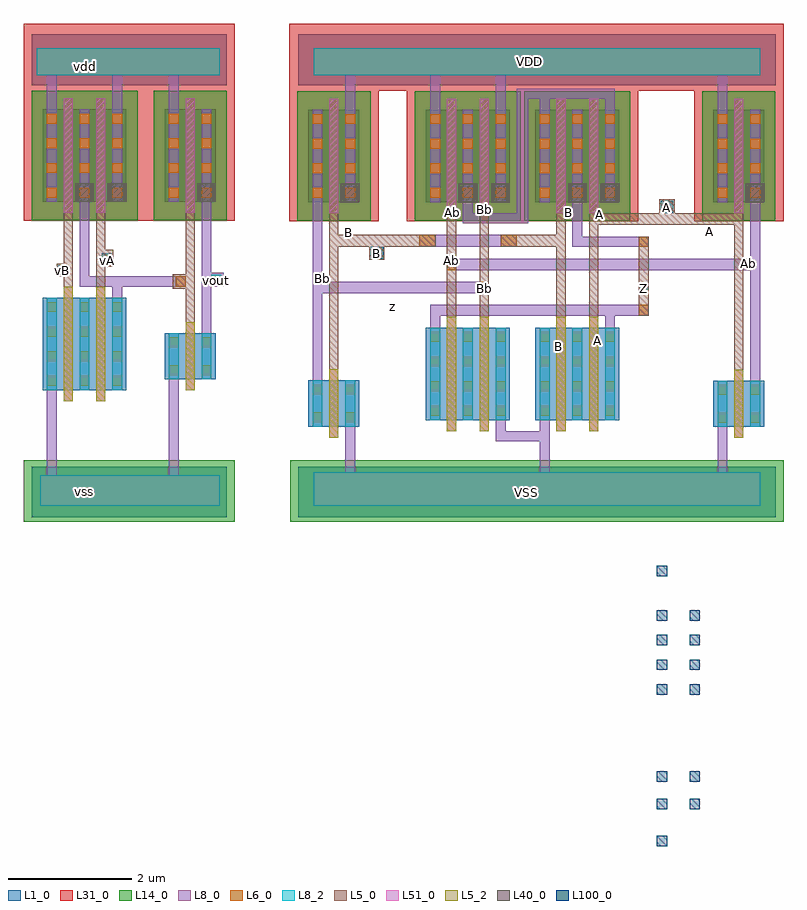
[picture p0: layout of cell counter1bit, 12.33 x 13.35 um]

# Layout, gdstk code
from math import pi, radians
import gdstk
lib = gdstk.Library(unit=1e-6, precision=5e-09)
def R(c, l, rs):  # rectangles x0, y0, x1, y1
    for r in rs: c.add(gdstk.rectangle(r[:2], r[2:], *l))
def A(c, l, x, y, w, h, nx, ny, dx, dy):  # array of equal rectangles
    R(c, l, [(x+i*dx, y+j*dy, x+i*dx+w, y+j*dy+h) for i in range(nx) for j in range(ny)])
def P(c, l, *ps):  # polygons
    for p in ps: c.add(gdstk.Polygon(p, *l))
L1_0 = (1, 0)
L5_0 = (5, 0)
L5_2 = (5, 2)
L6_0 = (6, 0)
L8_0 = (8, 0)
L8_2 = (8, 2)
L14_0 = (14, 0)
L31_0 = (31, 0)
L40_0 = (40, 0)
L51_0 = (51, 0)
L100_0 = (100, 0)

nmos_1 = lib.new_cell('nmos$1')
R(nmos_1, L1_0, [(0,0,0.3,0.3), (0,0,0.83,0.75), (0.53,0,0.83,0.3)])
R(nmos_1, L5_0, [(0.34,-0.18,0.49,0.93)])
R(nmos_1, L5_2, [(0.34,-0.18,0.49,0.93)])
R(nmos_1, L6_0, [(0.07,0.07,0.23,0.23), (0.6,0.07,0.76,0.23), (0.07,0.52,0.23,0.68), (0.6,0.52,0.76,0.68)])
R(nmos_1, L8_0, [(0.07,0,0.23,0.75), (0.6,0,0.76,0.75)])
R(nmos_1, L8_2, [(0.07,0,0.23,0.75), (0.6,0,0.76,0.75)])
R(nmos_1, L51_0, [(0.34,-0.18,0.49,0.93)])
nmos_1.add(gdstk.Label('nmos', (0.415,0.375), layer=63, texttype=0))
nmos_1.add(gdstk.Label('nmos', (0.415,0.375), layer=51, texttype=0))

pmos_1 = lib.new_cell('pmos$1')
R(pmos_1, L1_0, [(0,0,0.3,0.3), (0,0,0.83,1.5), (0.53,0,0.83,0.3)])
R(pmos_1, L5_0, [(0.34,-0.18,0.49,1.68), (0.34,-0.18,0.49,1.68)])
A(pmos_1, L6_0, 0.07, 0.07, 0.16, 0.16, 1, 4, 0, 0.4)
A(pmos_1, L6_0, 0.6, 0.07, 0.16, 0.16, 1, 4, 0, 0.4)
R(pmos_1, L8_0, [(0.07,0,0.23,1.5), (0.07,0,0.23,1.5), (0.6,0,0.76,1.5), (0.6,0,0.76,1.5)])
R(pmos_1, L14_0, [(-0.18,-0.3,1.01,1.8)])
R(pmos_1, L31_0, [(-0.31,-0.31,1.14,1.81)])
R(pmos_1, L40_0, [(0.53,0,0.83,0.3)])
R(pmos_1, L51_0, [(0.34,-0.18,0.49,1.68)])
pmos_1.add(gdstk.Label('pmos', (0.415,0.75), layer=63, texttype=0))
pmos_1.add(gdstk.Label('pmos', (0.415,0.75), layer=51, texttype=0))

nmos = lib.new_cell('nmos')
R(nmos, L1_0, [(0,0,0.3,0.3), (0,0,0.83,1.5), (0.53,0,0.83,0.3)])
R(nmos, L5_0, [(0.34,-0.18,0.49,1.68)])
R(nmos, L5_2, [(0.34,-0.18,0.49,1.68)])
A(nmos, L6_0, 0.07, 0.07, 0.16, 0.16, 1, 4, 0, 0.4)
A(nmos, L6_0, 0.6, 0.07, 0.16, 0.16, 1, 4, 0, 0.4)
R(nmos, L8_0, [(0.07,0,0.23,1.5), (0.6,0,0.76,1.5)])
R(nmos, L8_2, [(0.07,0,0.23,1.5), (0.6,0,0.76,1.5)])
R(nmos, L51_0, [(0.34,-0.18,0.49,1.68)])
nmos.add(gdstk.Label('nmos', (0.415,0.75), layer=63, texttype=0))
nmos.add(gdstk.Label('nmos', (0.415,0.75), layer=51, texttype=0))

pmos = lib.new_cell('pmos')
R(pmos, L1_0, [(0,0,0.3,0.3), (0,0,0.83,1.5), (0.53,0,0.83,0.3)])
R(pmos, L5_0, [(0.34,-0.18,0.49,1.68), (0.34,-0.18,0.49,1.68)])
A(pmos, L6_0, 0.07, 0.07, 0.16, 0.16, 1, 4, 0, 0.4)
A(pmos, L6_0, 0.6, 0.07, 0.16, 0.16, 1, 4, 0, 0.4)
R(pmos, L8_0, [(0.07,0,0.23,1.5), (0.07,0,0.23,1.5), (0.6,0,0.76,1.5), (0.6,0,0.76,1.5)])
R(pmos, L14_0, [(-0.18,-0.3,1.01,1.8)])
R(pmos, L31_0, [(-0.31,-0.31,1.14,1.81)])
R(pmos, L40_0, [(0.53,0,0.83,0.3)])
R(pmos, L51_0, [(0.34,-0.18,0.49,1.68)])
pmos.add(gdstk.Label('pmos', (0.415,0.75), layer=63, texttype=0))
pmos.add(gdstk.Label('pmos', (0.415,0.75), layer=51, texttype=0))

pmos_1_1 = lib.new_cell('pmos$1$1')
R(pmos_1_1, L1_0, [(0,0,0.3,0.3), (0,0,0.83,1.5), (0.53,0,0.83,0.3)])
R(pmos_1_1, L5_0, [(0.34,-0.18,0.49,1.68), (0.34,-0.18,0.49,1.68)])
A(pmos_1_1, L6_0, 0.07, 0.07, 0.16, 0.16, 1, 4, 0, 0.4)
A(pmos_1_1, L6_0, 0.6, 0.07, 0.16, 0.16, 1, 4, 0, 0.4)
R(pmos_1_1, L8_0, [(0.07,0,0.23,1.5), (0.07,0,0.23,1.5), (0.6,0,0.76,1.5), (0.6,0,0.76,1.5)])
R(pmos_1_1, L14_0, [(-0.18,-0.3,1.01,1.8)])
R(pmos_1_1, L31_0, [(-0.31,-0.31,1.14,1.81)])
R(pmos_1_1, L40_0, [(0.53,0,0.83,0.3)])
R(pmos_1_1, L51_0, [(0.34,-0.18,0.49,1.68)])
pmos_1_1.add(gdstk.Label('pmos', (0.415,0.75), layer=63, texttype=0))
pmos_1_1.add(gdstk.Label('pmos', (0.415,0.75), layer=51, texttype=0))

nmos_2 = lib.new_cell('nmos$2')
R(nmos_2, L1_0, [(0,0,0.3,0.3), (0,0,0.83,0.75), (0.53,0,0.83,0.3)])
R(nmos_2, L5_0, [(0.34,-0.18,0.49,0.93)])
R(nmos_2, L5_2, [(0.34,-0.18,0.49,0.93)])
R(nmos_2, L6_0, [(0.07,0.07,0.23,0.23), (0.6,0.07,0.76,0.23), (0.07,0.52,0.23,0.68), (0.6,0.52,0.76,0.68)])
R(nmos_2, L8_0, [(0.07,0,0.23,0.75), (0.6,0,0.76,0.75)])
R(nmos_2, L8_2, [(0.07,0,0.23,0.75), (0.6,0,0.76,0.75)])
R(nmos_2, L51_0, [(0.34,-0.18,0.49,0.93)])
nmos_2.add(gdstk.Label('nmos', (0.415,0.375), layer=63, texttype=0))
nmos_2.add(gdstk.Label('nmos', (0.415,0.375), layer=51, texttype=0))

nmos_1_1 = lib.new_cell('nmos$1$1')
R(nmos_1_1, L1_0, [(0,0,0.3,0.3), (0,0,0.83,1.5), (0.53,0,0.83,0.3)])
R(nmos_1_1, L5_0, [(0.34,-0.18,0.49,1.68)])
R(nmos_1_1, L5_2, [(0.34,-0.18,0.49,1.68)])
A(nmos_1_1, L6_0, 0.07, 0.07, 0.16, 0.16, 1, 4, 0, 0.4)
A(nmos_1_1, L6_0, 0.6, 0.07, 0.16, 0.16, 1, 4, 0, 0.4)
R(nmos_1_1, L8_0, [(0.07,0,0.23,1.5), (0.6,0,0.76,1.5)])
R(nmos_1_1, L8_2, [(0.07,0,0.23,1.5), (0.6,0,0.76,1.5)])
R(nmos_1_1, L51_0, [(0.34,-0.18,0.49,1.68)])
nmos_1_1.add(gdstk.Label('nmos', (0.415,0.75), layer=63, texttype=0))
nmos_1_1.add(gdstk.Label('nmos', (0.415,0.75), layer=51, texttype=0))

counter1bit = lib.new_cell('counter1bit')
R(counter1bit, L1_0, [(-10.525,3.795,-7.355,4.62), (-6.2,3.795,1.55,4.62), (-10.525,10.81,-7.355,11.635), (-6.2,10.81,1.55,11.635)])
R(counter1bit, L5_0, [(-3.255,7.05,-3.105,8.73), (-3.785,7.055,-3.635,8.73), (-0.675,7.07,-0.515,8.345)])
P(counter1bit, L5_0, [(-8.025,6.965),(-8.025,7.505),(-8.23,7.505),(-8.23,7.74),(-8.025,7.74),(-8.025,8.755),(-7.875,8.755),(-7.875,6.965)],
  [(-9.475,7.54),(-9.475,8.735),(-9.325,8.735),(-9.325,8.14),(-9.2,8.14),(-9.2,7.865),(-9.325,7.865),(-9.325,7.54)],
  [(-10.005,7.535),(-10.005,7.71),(-10.115,7.71),(-10.115,7.91),(-10.005,7.91),(-10.005,8.735),(-9.855,8.735),(-9.855,7.535)],
  [(0.875,6.195),(0.875,8.54),(-1.33,8.54),(-1.33,7.055),(-1.48,7.055),(-1.48,8.73),(-0.34,8.73),(-0.34,8.955),(-0.09,8.955),(-0.09,8.73),(1.025,8.73),(1.025,6.195)],
  [(-2.01,7.055),(-2.01,8.185),(-2.91,8.185),(-2.91,8.385),(-2.01,8.385),(-2.01,8.73),(-1.86,8.73),(-1.86,7.055)],
  [(-5.695,6.2),(-5.695,8.73),(-5.545,8.73),(-5.545,8.385),(-3.97,8.385),(-3.97,8.185),(-4.8,8.185),(-4.8,7.975),(-5.045,7.975),(-5.045,8.185),(-5.545,8.185),(-5.545,6.2)])
R(counter1bit, L6_0, [(-10.385,3.985,-7.475,4.48), (-5.95,3.985,1.3,4.53), (-0.675,7.07,-0.515,7.245), (-3.255,7.435,-3.105,7.615), (-0.675,7.44,-0.515,7.605), (-8.185,7.54,-8.025,7.705), (-7.605,7.57,-7.445,7.73), (-10.09,7.73,-9.93,7.89), (-3.785,7.805,-3.635,7.99), (-9.385,7.885,-9.225,8.085), (-5.025,7.99,-4.82,8.185), (-4.235,8.185,-3.97,8.385), (-2.91,8.185,-2.655,8.385), (-0.675,8.185,-0.515,8.345), (-0.32,8.73,-0.11,8.935), (-10.44,10.965,-7.475,11.405), (-5.95,10.965,1.3,11.405)])
R(counter1bit, L8_0, [(-0.675,7.44,-0.515,7.605), (-10.09,7.73,-9.93,7.89), (-9.385,7.885,-9.225,8.085), (-5.025,7.99,-4.82,8.185), (-4.235,8.185,-2.655,8.385), (-0.32,8.73,-0.11,8.935)])
P(counter1bit, L8_0, [(-10.275,10.415),(-10.275,10.965),(-10.44,10.965),(-10.44,11.405),(-7.475,11.405),(-7.475,10.965),(-8.135,10.965),(-8.135,10.415),(-8.295,10.415),(-8.295,10.965),(-9.055,10.965),(-9.055,10.415),(-9.215,10.415),(-9.215,10.965),(-10.115,10.965),(-10.115,10.415)],
  [(-10.385,3.985),(-10.385,4.48),(-10.275,4.48),(-10.275,5.89),(-10.115,5.89),(-10.115,4.48),(-8.295,4.48),(-8.295,6.065),(-8.135,6.065),(-8.135,4.48),(-7.475,4.48),(-7.475,3.985)],
  [(-7.765,6.785),(-7.765,8.935),(-7.605,8.935),(-7.605,7.765),(-7.405,7.765),(-7.405,7.535),(-7.605,7.535),(-7.605,6.785)],
  [(-9.215,7.36),(-9.215,7.54),(-9.745,7.54),(-9.745,8.915),(-9.585,8.915),(-9.585,7.705),(-8.025,7.705),(-8.025,7.54),(-9.055,7.54),(-9.055,7.36)],
  [(-4.055,6.875),(-4.055,7.245),(-0.515,7.245),(-0.515,7.07),(-1.06,7.07),(-1.06,6.875),(-1.22,6.875),(-1.22,7.07),(-3.895,7.07),(-3.895,6.875)],
  [(-5.95,3.985),(-5.95,4.53),(-5.435,4.53),(-5.435,5.27),(-5.275,5.27),(-5.275,4.53),(-2.28,4.53),(-2.28,5.035),(-2.995,5.035),(-2.995,5.435),(-2.835,5.435),(-2.835,5.195),(-2.28,5.195),(-2.28,5.375),(-2.12,5.375),(-2.12,4.53),(0.605,4.53),(0.605,5.265),(0.765,5.265),(0.765,4.53),(1.3,4.53),(1.3,3.985)],
  [(-5.435,10.405),(-5.435,10.965),(-5.95,10.965),(-5.95,11.405),(1.3,11.405),(1.3,10.965),(0.765,10.965),(0.765,10.41),(0.605,10.41),(0.605,10.965),(-2.835,10.965),(-2.835,10.41),(-2.995,10.41),(-2.995,10.965),(-3.895,10.965),(-3.895,10.41),(-4.055,10.41),(-4.055,10.965),(-5.275,10.965),(-5.275,10.405)],
  [(-1.75,8.185),(-1.75,8.91),(-1.59,8.91),(-1.59,8.345),(-0.515,8.345),(-0.515,8.185)],
  [(-3.525,8.57),(-3.525,8.91),(-3.365,8.91),(-3.365,8.73),(-2.655,8.73),(-2.655,10.75),(-1.06,10.75),(-1.06,10.41),(-1.22,10.41),(-1.22,10.59),(-2.12,10.59),(-2.12,10.41),(-2.28,10.41),(-2.28,10.59),(-2.47,10.59),(-2.47,8.57)],
  [(1.135,6.015),(1.135,7.805),(-3.785,7.805),(-3.785,7.99),(1.135,7.99),(1.135,8.91),(1.295,8.91),(1.295,6.015)],
  [(-5.965,6.02),(-5.965,8.91),(-5.805,8.91),(-5.805,7.615),(-3.105,7.615),(-3.105,7.435),(-5.805,7.435),(-5.805,6.02)])
R(counter1bit, L8_2, [(-10.385,3.985,-7.475,4.48), (-5.95,3.985,1.3,4.53), (-0.675,7.44,-0.515,7.605), (-7.605,7.57,-7.445,7.73), (-10.09,7.73,-9.93,7.89), (-9.385,7.885,-9.225,8.085), (-5.025,7.99,-4.82,8.185), (-0.32,8.73,-0.11,8.935), (-10.44,10.965,-7.475,11.405), (-5.95,10.965,1.3,11.405)])
R(counter1bit, L14_0, [(-10.655,3.725,-7.225,4.72), (-6.33,3.725,1.675,4.72)])
R(counter1bit, L31_0, [(-10.655,10.72,-7.225,11.805), (-6.345,10.72,1.675,11.805)])
R(counter1bit, L100_0, [(-0.38,-1.54,-0.21,-1.37), (-0.38,-1.54,-0.21,-1.37), (-0.38,-0.94,-0.21,-0.77), (-0.38,-0.94,-0.21,-0.77), (0.15,-0.94,0.32,-0.77), (0.15,-0.94,0.32,-0.77), (-0.38,-0.49,-0.21,-0.32), (-0.38,-0.49,-0.21,-0.32), (0.15,-0.49,0.32,-0.32), (0.15,-0.49,0.32,-0.32), (-0.38,0.92,-0.21,1.09), (-0.38,0.92,-0.21,1.09), (0.15,0.92,0.32,1.09), (0.15,0.92,0.32,1.09), (-0.38,1.32,-0.21,1.49), (-0.38,1.32,-0.21,1.49), (0.15,1.32,0.32,1.49), (0.15,1.32,0.32,1.49), (-0.38,1.72,-0.21,1.89), (-0.38,1.72,-0.21,1.89), (0.15,1.72,0.32,1.89), (0.15,1.72,0.32,1.89), (-0.38,2.12,-0.21,2.29), (-0.38,2.12,-0.21,2.29), (0.15,2.12,0.32,2.29), (0.15,2.12,0.32,2.29), (-0.38,2.84,-0.21,3.01), (-0.38,2.84,-0.21,3.01)])
counter1bit.add(gdstk.Reference(nmos_1, (-8.365,6.035)))
counter1bit.add(gdstk.Reference(pmos_1, (-8.365,8.915)))
counter1bit.add(gdstk.Reference(nmos, (-10.345,5.86)))
counter1bit.add(gdstk.Reference(pmos, (-10.345,8.915)))
counter1bit.add(gdstk.Reference(pmos, (-9.815,8.915)))
counter1bit.add(gdstk.Reference(nmos, (-9.815,5.86)))
counter1bit.add(gdstk.Reference(pmos_1_1, (-6.035,8.91)))
counter1bit.add(gdstk.Reference(pmos_1_1, (-4.125,8.91)))
counter1bit.add(gdstk.Reference(pmos_1_1, (-3.595,8.91)))
counter1bit.add(gdstk.Reference(pmos_1_1, (-1.82,8.91)))
counter1bit.add(gdstk.Reference(pmos_1_1, (-2.35,8.91)))
counter1bit.add(gdstk.Reference(nmos_2, (1.365,6.015), rotation=pi))
counter1bit.add(gdstk.Reference(nmos_1_1, (-3.595,5.375)))
counter1bit.add(gdstk.Reference(nmos_1_1, (-4.125,5.375)))
counter1bit.add(gdstk.Reference(nmos_1_1, (-1.82,5.375)))
counter1bit.add(gdstk.Reference(nmos_1_1, (-2.35,5.375)))
counter1bit.add(gdstk.Reference(nmos_2, (-5.205,6.02), rotation=pi))
counter1bit.add(gdstk.Reference(pmos_1_1, (0.535,8.91)))
counter1bit.add(gdstk.Label('Ab', (-3.705,7.96), layer=63, texttype=0))
counter1bit.add(gdstk.Label('Bb', (-3.17,7.505), layer=63, texttype=0))
counter1bit.add(gdstk.Label('A', (-1.335,6.665), layer=63, texttype=0))
counter1bit.add(gdstk.Label('B', (-1.98,6.57), layer=63, texttype=0))
counter1bit.add(gdstk.Label('z', (-4.675,7.215), layer=63, texttype=0))
counter1bit.add(gdstk.Label('A', (0.475,8.44), layer=63, texttype=0))
counter1bit.add(gdstk.Label('Bb', (-5.8,7.67), layer=63, texttype=0))
counter1bit.add(gdstk.Label('B', (-5.39,8.41), layer=63, texttype=0))
counter1bit.add(gdstk.Label('B', (-1.815,8.745), layer=63, texttype=0))
counter1bit.add(gdstk.Label('A', (-1.305,8.71), layer=63, texttype=0))
counter1bit.add(gdstk.Label('Ab', (1.115,7.915), layer=63, texttype=0))
counter1bit.add(gdstk.Label('Bb', (-3.18,8.795), layer=63, texttype=0))
counter1bit.add(gdstk.Label('Ab', (-3.7,8.75), layer=63, texttype=0))
counter1bit.add(gdstk.Label('vout', (-7.52,7.645), layer=8, texttype=2))
counter1bit.add(gdstk.Label('vB', (-10.015,7.8), layer=8, texttype=2))
counter1bit.add(gdstk.Label('vA', (-9.29,7.96), layer=8, texttype=2))
counter1bit.add(gdstk.Label('vdd', (-9.655,11.105), layer=8, texttype=2))
counter1bit.add(gdstk.Label('vss', (-9.66,4.21), layer=8, texttype=2))
counter1bit.add(gdstk.Label('VDD', (-2.44,11.185), layer=8, texttype=2))
counter1bit.add(gdstk.Label('VSS', (-2.495,4.195), layer=8, texttype=2))
counter1bit.add(gdstk.Label('B', (-4.92,8.08), layer=8, texttype=2))
counter1bit.add(gdstk.Label('A', (-0.22,8.83), layer=8, texttype=2))
counter1bit.add(gdstk.Label('Z', (-0.59,7.515), layer=8, texttype=2))

lib.write_gds('counter1bit.gds')
